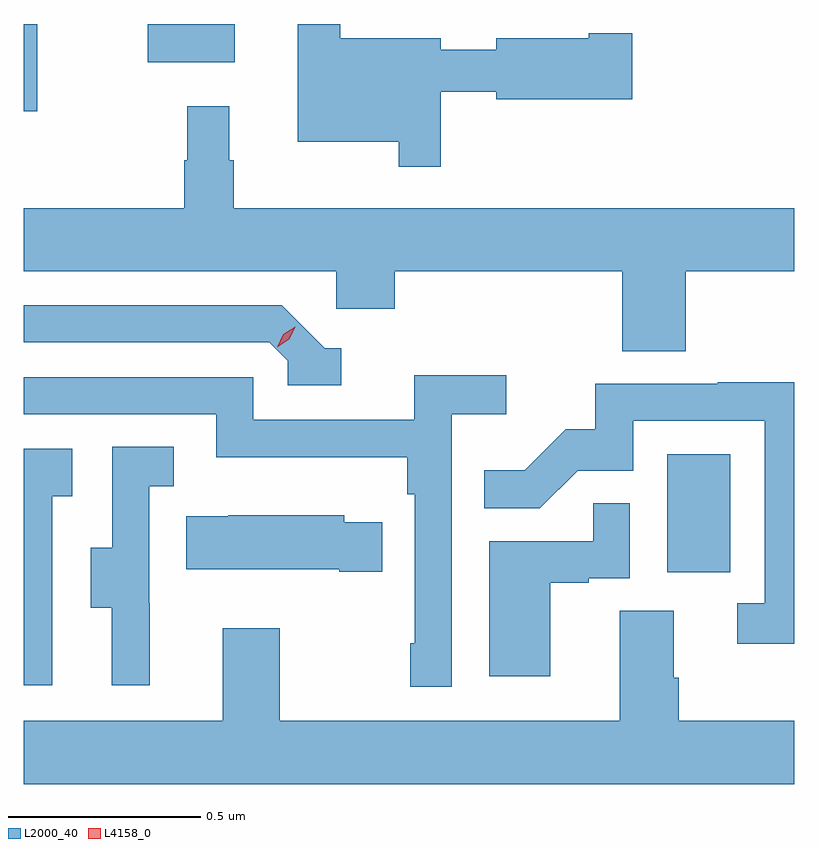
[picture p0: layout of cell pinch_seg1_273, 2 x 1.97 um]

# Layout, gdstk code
import gdstk
lib = gdstk.Library(unit=1e-6, precision=1e-09)
def R(c, l, rs):  # rectangles x0, y0, x1, y1
    for r in rs: c.add(gdstk.rectangle(r[:2], r[2:], *l))
def P(c, l, *ps):  # polygons
    for p in ps: c.add(gdstk.Polygon(p, *l))
L2000_40 = (2000, 40)
L4158_0 = (4158, 0)

pinch_seg1_273 = lib.new_cell('pinch_seg1_273')
R(pinch_seg1_273, L2000_40, [(938.144,577.59,938.308,577.897), (936.473,578.787,936.508,579.014), (936.794,578.915,937.021,579.014)])
P(pinch_seg1_273, L2000_40, [(937.555,578.838),(937.7,578.838),(937.7,578.819),(938.053,578.819),(938.053,578.99),(937.94,578.99),(937.94,578.977),(937.7,578.977),(937.7,578.947),(937.555,578.947),(937.555,578.977),(937.294,578.977),(937.294,579.014),(937.184,579.014),(937.184,578.708),(937.446,578.708),(937.446,578.643),(937.555,578.643)],
  [(938.192,578.372),(938.473,578.372),(938.473,578.536),(937.018,578.536),(937.018,578.66),(937.006,578.66),(937.006,578.8),(936.897,578.8),(936.897,578.66),(936.889,578.66),(936.889,578.536),(936.473,578.536),(936.473,578.372),(937.284,578.372),(937.284,578.274),(937.436,578.274),(937.436,578.372),(938.027,578.372),(938.027,578.164),(938.192,578.164)],
  [(937.297,578.172),(937.254,578.172),(937.143,578.283),(936.473,578.283),(936.473,578.187),(937.11,578.187),(937.158,578.139),(937.158,578.076),(937.297,578.076)],
  [(937.584,578),(937.726,578),(937.726,578.102),(937.487,578.102),(937.487,577.986),(937.068,577.986),(937.068,578.097),(936.473,578.097),(936.473,578.001),(936.972,578.001),(936.972,577.889),(937.468,577.889),(937.468,577.793),(937.488,577.793),(937.488,577.405),(937.476,577.405),(937.476,577.293),(937.584,577.293)],
  [(938.473,578.084),(938.275,578.084),(938.275,578.079),(937.957,578.079),(937.957,577.962),(937.88,577.962),(937.773,577.855),(937.669,577.855),(937.669,577.756),(937.813,577.756),(937.911,577.854),(938.055,577.854),(938.055,577.983),(938.397,577.983),(938.397,577.509),(938.325,577.509),(938.325,577.404),(938.473,577.404)],
  [(936.8,577.509),(936.798,577.509),(936.798,577.813),(936.862,577.813),(936.862,577.916),(936.702,577.916),(936.702,577.653),(936.647,577.653),(936.647,577.498),(936.701,577.498),(936.701,577.296),(936.8,577.296)],
  [(936.546,577.787),(936.598,577.787),(936.598,577.911),(936.473,577.911),(936.473,577.296),(936.546,577.296)],
  [(937.84,577.563),(937.94,577.563),(937.94,577.575),(938.046,577.575),(938.046,577.769),(937.951,577.769),(937.951,577.671),(937.682,577.671),(937.682,577.32),(937.84,577.32)],
  [(937.403,577.72),(937.305,577.72),(937.305,577.738),(937.003,577.738),(937.003,577.735),(936.895,577.735),(936.895,577.598),(937.292,577.598),(937.292,577.591),(937.403,577.591)],
  [(938.473,577.204),(938.174,577.204),(938.174,577.316),(938.161,577.316),(938.161,577.49),(938.021,577.49),(938.021,577.204),(937.137,577.204),(937.137,577.444),(936.989,577.444),(936.989,577.204),(936.473,577.204),(936.473,577.04),(938.473,577.04)])
P(pinch_seg1_273, L4158_0, [(937.131,578.175),(937.131,578.175),(937.147,578.208),(937.177,578.228),(937.178,578.228),(937.178,578.228),(937.162,578.195),(937.131,578.175)])

lib.write_gds('pinch_seg1_273.gds')
